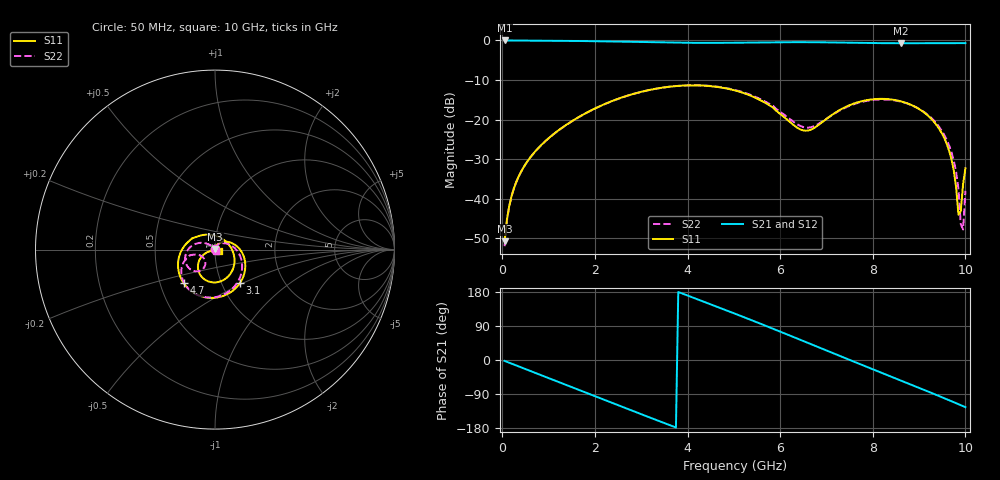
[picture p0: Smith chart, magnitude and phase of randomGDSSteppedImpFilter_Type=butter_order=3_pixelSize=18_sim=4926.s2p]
! freq	dB(S11)	phase(S11)	dB(S12)	phase(S12)
!  dB(S21)	phase(S21)	dB(S22)	phase(S22)
!S-par simulation data
#  GHz  S  DB  R 50
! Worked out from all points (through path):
!   200 points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, 50 MHz to 10 GHz, reference 50 ohm
!   highest |S21| = 0.00 dB at 50 MHz (marker M1); lowest = -0.7 dB at 8.6 GHz (marker M2)
!   group delay of S21, straight-line fit = 134 ps
!   lowest |S11| = -50.8 dB at 50 MHz (marker M3), VSWR 1.01, Z = 50.1 + j0.28 ohm
!   |S11| at or under -10 dB: start of sweep to end of sweep
!   |S22| runs from -52.0 to -11.3 dB; largest |S21 - S12| = 0
!   S11 on the Smith chart (normalised r, x): 50 MHz: 1.00, +0.01; 3.1 GHz: 1.22, -0.48; 4.7 GHz: 0.66, -0.27; 10 GHz: 1.05, -0.01
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0.05  -50.76 74.7  -0.00 -2.4  -0.00 -2.4  -51.98 71.7
0.2  -39.35 78.2  -0.01 -9.6  -0.01 -9.6  -39.36 75.9
0.45  -32.23 69.9  -0.03 -21.5  -0.03 -21.5  -32.24 65.4
1.15  -23.27 40.2  -0.08 -54.9  -0.08 -54.9  -23.30 30.5
1.75  -18.70 12.6  -0.15 -83.6  -0.15 -83.6  -18.73 1.2
2.4  -15.17 -18.6  -0.27 -114.6  -0.27 -114.6  -15.20 -29.6
3.1  -12.70 -52.7  -0.42 -147.7  -0.42 -147.7  -12.71 -61.6
3.4  -12.03 -67.5  -0.49 -161.8  -0.49 -161.8  -12.03 -74.9
4.05  -11.35 -99.6  -0.59 167.9  -0.59 167.9  -11.33 -102.9
4.7  -11.84 -132.9  -0.61 137.6  -0.61 137.6  -11.77 -129.4
5.05  -12.71 -152.1  -0.58 121.0  -0.58 121.0  -12.59 -142.7
5.8  -16.61 158.5  -0.47 84.7  -0.47 84.7  -16.22 -164.8
6.7  -22.34 33.1  -0.44 40.0  -0.44 40.0  -21.80 -134.8
7.5  -16.35 -51.4  -0.57 0.2  -0.57 0.2  -16.51 -126.7
8.35  -14.85 -101.5  -0.69 -41.4  -0.69 -41.4  -14.98 -157.1
8.6  -15.36 -114.5  -0.70 -53.7  -0.70 -53.7  -15.44 -168.0
9.5  -23.65 -157.1  -0.66 -98.6  -0.66 -98.6  -23.00 148.6
9.75  -32.90 -161.6  -0.66 -111.4  -0.66 -111.4  -30.40 134.5
9.85  -44.06 -126.0  -0.66 -116.6  -0.66 -116.6  -37.56 126.6
9.9  -43.12 -42.5  -0.67 -119.2  -0.67 -119.2  -46.37 111.3
9.95  -36.36 -20.1  -0.67 -121.8  -0.67 -121.8  -47.76 -38.6
10  -32.31 -15.9  -0.67 -124.4  -0.67 -124.4  -38.00 -52.0
